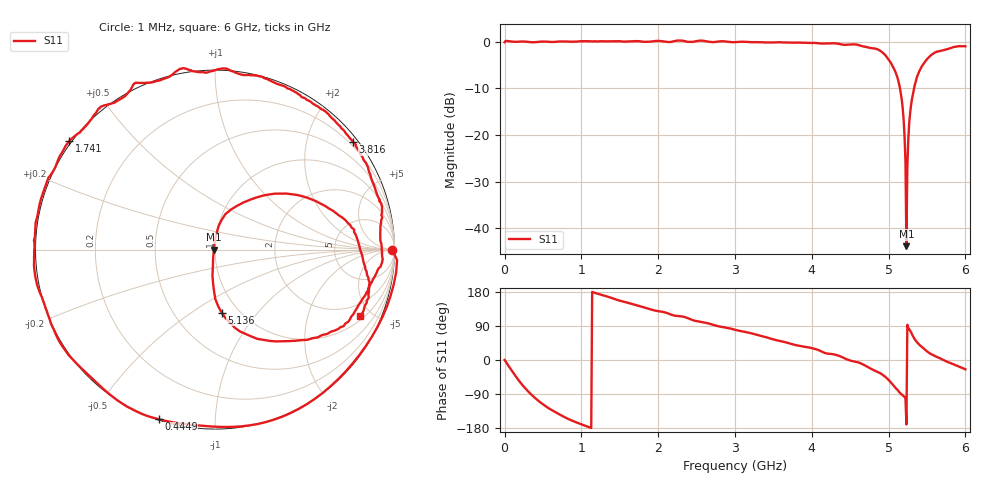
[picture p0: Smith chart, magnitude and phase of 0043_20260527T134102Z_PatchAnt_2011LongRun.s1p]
# Hz S RI R 50
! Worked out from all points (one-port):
!   501 points, 1 MHz to 6 GHz, reference 50 ohm
!   lowest |S11| = -43.8 dB at 5.232 GHz (marker M1), VSWR 1.01, Z = 49.4 - j0.11 ohm
!   |S11| at or under -10 dB: 5.149 GHz to 5.332 GHz (182.9 MHz wide, 3.49 % of centre)
!   S11 on the Smith chart (normalised r, x): 1 MHz: open; 444.9 MHz: 0.00, -0.72; 1.741 GHz: -0.01, +0.33; 3.816 GHz: 0.12, +2.89; 5.136 GHz: 0.83, -0.67; 6 GHz: 1.19, -4.27
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1000000  0.9878 -0.000336
8.4986e7  0.9056 -0.4306
2.16964e8  0.4679 -0.887
3.0095e8  0.1465 -0.9848
4.44926e8  -0.3146 -0.9446
7.56874e8  -0.8552 -0.5314
1.056824e9  -1.007 -0.1076
1.50075e9  -0.9276 0.402
1.74071e9  -0.8121 0.6037
2.256624e9  -0.4535 0.9227
3.0005e9  0.1755 0.9724
3.756374e9  0.7348 0.6411
3.816364e9  0.7673 0.6007
4.32028e9  0.9311 0.2174
4.50025e9  0.9304 -0.0196
4.872188e9  0.6854 -0.4429
5.028162e9  0.3082 -0.5092
5.136144e9  0.0369 -0.3507
5.184136e9  -0.0102 -0.1928
5.196134e9  -0.0143 -0.1449
5.208132e9  -0.0118 -0.0944
5.232128e9  -0.00635 -0.00111
5.256124e9  0.00813 0.0871
5.268122e9  0.02 0.1315
5.292118e9  0.0589 0.1987
5.412098e9  0.3973 0.3122
5.628062e9  0.7748 0.1123
6e9  0.8094 -0.3709
